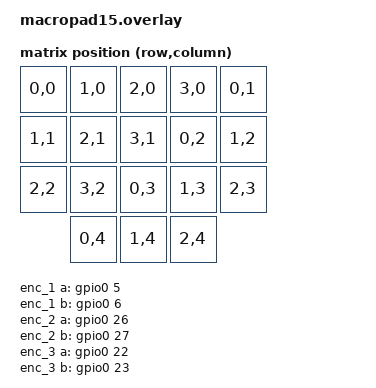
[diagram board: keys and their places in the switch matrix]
/*
 * Macropad15 - shield cho ZMK firmware
 *
 * Phan cung: Pro Micro RP2040 (SparkFun), 15 phim ma tran 4x5 diode ROW2COL,
 * 3 nut xoay EC11 co nut nhan (nut nhan noi vao ma tran tai C4), OLED SSD1306
 * 128x64 I2C0 (SDA = GP20/D14, SCL = GP21/D10).
 *
 * Ban do ma tran (giong ban ESP32-C3 goc):
 *   - 15 phim Pn: hang n%4, cot n/4 (P0=R0C0 ... P14=R2C3, R3C3 trong)
 *   - Nut nhan encoder: ENC1 -> R0C4, ENC2 -> R1C4, ENC3 -> R2C4
 *     (3 chan con lai noi chung qua 1 diode vao C4)
 *   C0..C4 = GP7, GP8, GP29, GP28, GP4
 *   R0..R3 = GP1, GP0, GP2, GP3
 *   Encoder quay: ENC1 (GP5, GP6), ENC2 (GP26, GP27), ENC3 (GP22, GP23)
 */

#include <dt-bindings/zmk/matrix_transform.h>
#include <dt-bindings/pinctrl/rpi-pico-rp2040-pinctrl.h>
#include <zephyr/dt-bindings/i2c/i2c.h>

/ {
    chosen {
        zephyr,display = &oled;
        zmk,kscan = &kscan0;
        zmk,matrix-transform = &default_transform;
    };

    default_transform: keymap_transform_0 {
        compatible = "zmk,matrix-transform";
        columns = <5>;
        rows = <4>;

        /* Thu tu vi tri giong he LAYOUT() cua QMK: 15 phim roi 3 nut nhan encoder */
        map = <
            /* hang 1: k0..k4  */ RC(0,0) RC(1,0) RC(2,0) RC(3,0) RC(0,1)
            /* hang 2: k5..k9  */ RC(1,1) RC(2,1) RC(3,1) RC(0,2) RC(1,2)
            /* hang 3: k10..k14 */ RC(2,2) RC(3,2) RC(0,3) RC(1,3) RC(2,3)
            /* nut nhan ENC1, ENC2, ENC3 */ RC(0,4) RC(1,4) RC(2,4)
        >;
    };

    enc_1: enc_1 {
        compatible = "alps,ec11";
        a-gpios = <&gpio0 5 (GPIO_ACTIVE_LOW | GPIO_PULL_UP)>;
        b-gpios = <&gpio0 6 (GPIO_ACTIVE_LOW | GPIO_PULL_UP)>;
        steps = <4>;
        status = "okay";
    };

    enc_2: enc_2 {
        compatible = "alps,ec11";
        a-gpios = <&gpio0 26 (GPIO_ACTIVE_LOW | GPIO_PULL_UP)>;
        b-gpios = <&gpio0 27 (GPIO_ACTIVE_LOW | GPIO_PULL_UP)>;
        steps = <4>;
        status = "okay";
    };

    enc_3: enc_3 {
        compatible = "alps,ec11";
        a-gpios = <&gpio0 22 (GPIO_ACTIVE_LOW | GPIO_PULL_UP)>;
        b-gpios = <&gpio0 23 (GPIO_ACTIVE_LOW | GPIO_PULL_UP)>;
        steps = <4>;
        status = "okay";
    };

    sensors {
        compatible = "zmk,keymap-sensors";
        sensors = <&enc_1 &enc_2 &enc_3>;
    };

    kscan0: kscan {
        compatible = "zmk,kscan-gpio-matrix";
        diode-direction = "row2col";

        /* Cot duoc quet (keo len), hang doc (keo xuong) */
        col-gpios = <&gpio0 7  GPIO_ACTIVE_HIGH>,
                    <&gpio0 8  GPIO_ACTIVE_HIGH>,
                    <&gpio0 29 GPIO_ACTIVE_HIGH>,
                    <&gpio0 28 GPIO_ACTIVE_HIGH>,
                    <&gpio0 4  GPIO_ACTIVE_HIGH>;
        row-gpios = <&gpio0 1 (GPIO_ACTIVE_HIGH | GPIO_PULL_DOWN)>,
                    <&gpio0 0 (GPIO_ACTIVE_HIGH | GPIO_PULL_DOWN)>,
                    <&gpio0 2 (GPIO_ACTIVE_HIGH | GPIO_PULL_DOWN)>,
                    <&gpio0 3 (GPIO_ACTIVE_HIGH | GPIO_PULL_DOWN)>;
    };
};

/*
 * Board SparkFun Pro Micro RP2040 mac dinh bat uart0 (GP0/GP1), i2c1 (GP2/GP3),
 * spi0 (GP20/GP22/GP23) va adc (GP26..GP29) - tat ca deu dam chan qua ma tran,
 * encoder va OLED nen phai tat di.
 */
&uart0 { status = "disabled"; };
&i2c1  { status = "disabled"; };
&spi0  { status = "disabled"; };
&adc   { status = "disabled"; };

/* OLED SSD1306 128x64 tren I2C0: SDA = GP20, SCL = GP21 */
&pinctrl {
    i2c0_default: i2c0_default {
        group1 {
            pinmux = <I2C0_SDA_P20>, <I2C0_SCL_P21>;
            input-enable;
            bias-pull-up;
        };
    };
};

&i2c0 {
    status = "okay";
    pinctrl-0 = <&i2c0_default>;
    pinctrl-names = "default";
    clock-frequency = <I2C_BITRATE_FAST>;

    oled: ssd1306@3c {
        compatible = "solomon,ssd1306fb";
        reg = <0x3c>;
        width = <128>;
        height = <64>;
        segment-offset = <0>;
        page-offset = <0>;
        display-offset = <0>;
        multiplex-ratio = <63>;
        segment-remap;
        com-invdir;
        prechargep = <0x22>;
    };
};
